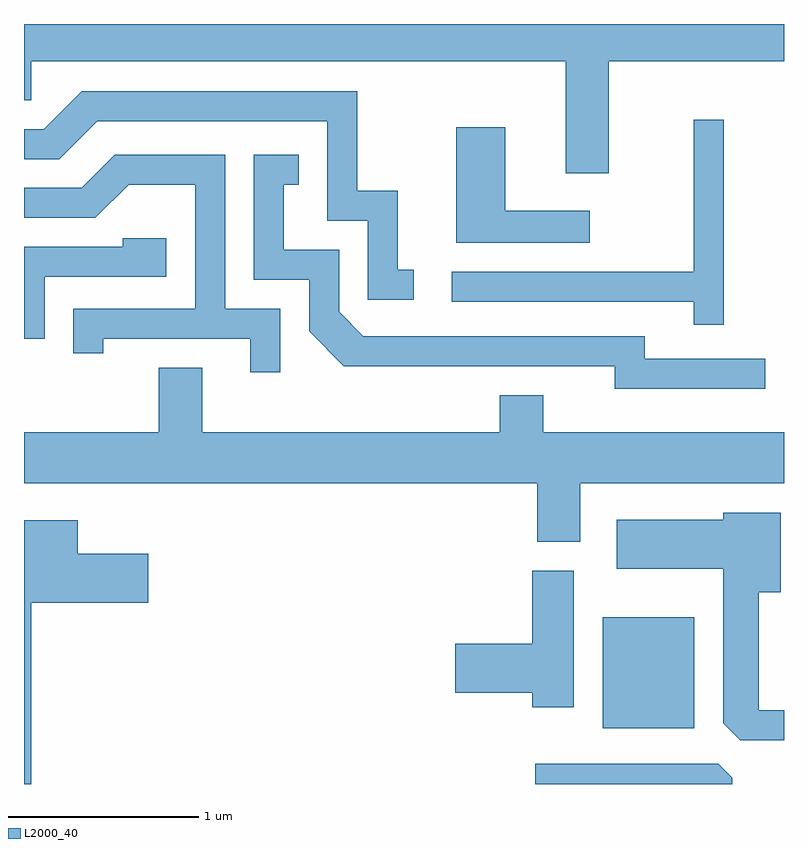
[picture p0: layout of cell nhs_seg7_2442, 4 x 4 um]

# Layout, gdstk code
import gdstk
lib = gdstk.Library(unit=1e-6, precision=1e-09)
def R(c, l, rs):  # rectangles x0, y0, x1, y1
    for r in rs: c.add(gdstk.rectangle(r[:2], r[2:], *l))
def P(c, l, *ps):  # polygons
    for p in ps: c.add(gdstk.Polygon(p, *l))
L2000_40 = (2000, 40)

nhs_seg7_2442 = lib.new_cell('nhs_seg7_2442')
R(nhs_seg7_2442, L2000_40, [(262.656,1748.546,263.139,1749.129)])
P(nhs_seg7_2442, L2000_40, [(262.689,1752.056),(263.611,1752.056),(263.611,1752.252),(259.611,1752.252),(259.611,1751.851),(259.649,1751.851),(259.649,1752.056),(262.461,1752.056),(262.461,1751.466),(262.689,1751.466)],
  [(261.663,1750.959),(261.579,1750.959),(261.579,1751.374),(261.364,1751.374),(261.364,1751.899),(259.914,1751.899),(259.714,1751.699),(259.611,1751.699),(259.611,1751.541),(259.796,1751.541),(259.997,1751.741),(261.206,1751.741),(261.206,1751.216),(261.421,1751.216),(261.421,1750.801),(261.663,1750.801)],
  [(263.294,1751.748),(263.136,1751.748),(263.136,1750.949),(261.863,1750.949),(261.863,1750.791),(263.136,1750.791),(263.136,1750.668),(263.294,1750.668)],
  [(262.588,1751.269),(262.144,1751.269),(262.144,1751.709),(261.886,1751.709),(261.886,1751.101),(262.588,1751.101)],
  [(260.959,1750.754),(260.669,1750.754),(260.669,1751.564),(260.089,1751.564),(259.914,1751.389),(259.611,1751.389),(259.611,1751.231),(259.986,1751.231),(260.162,1751.406),(260.511,1751.406),(260.511,1750.754),(259.871,1750.754),(259.871,1750.518),(260.029,1750.518),(260.029,1750.596),(260.801,1750.596),(260.801,1750.418),(260.959,1750.418)],
  [(263.513,1750.489),(262.879,1750.489),(262.879,1750.609),(261.397,1750.609),(261.269,1750.737),(261.269,1751.064),(260.979,1751.064),(260.979,1751.406),(261.058,1751.406),(261.058,1751.564),(260.821,1751.564),(260.821,1750.906),(261.111,1750.906),(261.111,1750.634),(261.294,1750.451),(262.721,1750.451),(262.721,1750.331),(263.513,1750.331)],
  [(259.719,1750.921),(260.359,1750.921),(260.359,1751.124),(260.131,1751.124),(260.131,1751.079),(259.611,1751.079),(259.611,1750.596),(259.719,1750.596)],
  [(262.539,1749.836),(263.611,1749.836),(263.611,1750.104),(262.344,1750.104),(262.344,1750.299),(262.116,1750.299),(262.116,1750.104),(260.549,1750.104),(260.549,1750.444),(260.321,1750.444),(260.321,1750.104),(259.611,1750.104),(259.611,1749.836),(262.311,1749.836),(262.311,1749.526),(262.539,1749.526)],
  [(263.611,1748.639),(263.479,1748.639),(263.479,1749.261),(263.594,1749.261),(263.594,1749.679),(263.291,1749.679),(263.291,1749.644),(262.731,1749.644),(262.731,1749.386),(263.291,1749.386),(263.291,1748.572),(263.382,1748.481),(263.611,1748.481)],
  [(259.649,1749.206),(260.264,1749.206),(260.264,1749.464),(259.894,1749.464),(259.894,1749.639),(259.611,1749.639),(259.611,1748.252),(259.649,1748.252)],
  [(262.504,1749.374),(262.286,1749.374),(262.286,1748.989),(261.881,1748.989),(261.881,1748.731),(262.286,1748.731),(262.286,1748.656),(262.504,1748.656)],
  [(263.339,1748.284),(263.264,1748.359),(262.303,1748.359),(262.303,1748.252),(263.339,1748.252)])

lib.write_gds('nhs_seg7_2442.gds')
